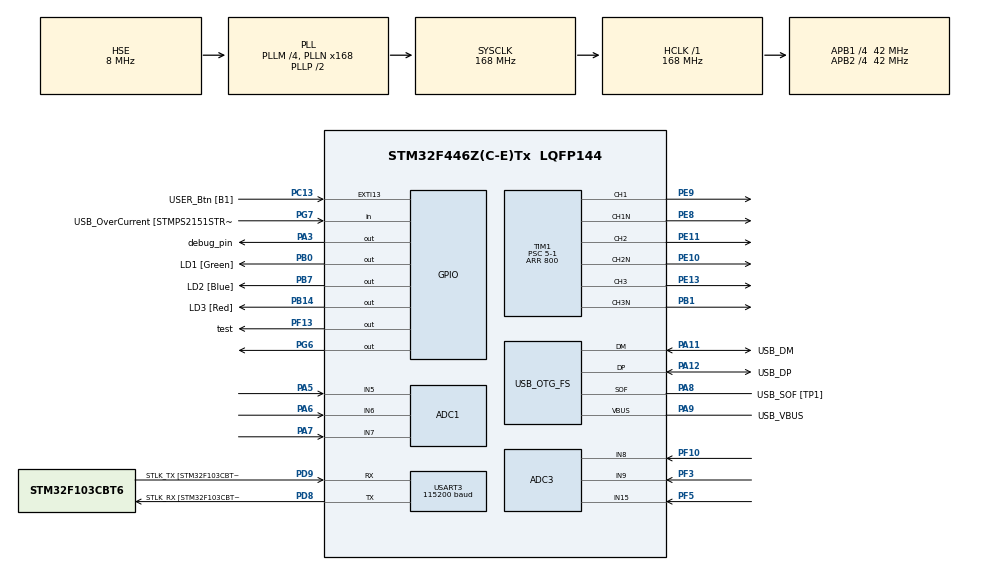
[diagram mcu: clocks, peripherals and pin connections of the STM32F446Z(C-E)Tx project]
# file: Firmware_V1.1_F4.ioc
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ADC1.Channel-0\#ChannelRegularConversion=ADC_CHANNEL_5
ADC1.Channel-1\#ChannelRegularConversion=ADC_CHANNEL_6
ADC1.Channel-2\#ChannelRegularConversion=ADC_CHANNEL_7
ADC1.ClockPrescaler=ADC_CLOCK_SYNC_PCLK_DIV4
ADC1.DMAContinuousRequests=DISABLE
ADC1.EOCSelection=ADC_EOC_SEQ_CONV
ADC1.InjNumberOfConversion=0
ADC1.NbrOfConversion=3
ADC1.NbrOfConversionFlag=1
ADC1.Rank-0\#ChannelRegularConversion=1
ADC1.Rank-1\#ChannelRegularConversion=2
ADC1.Rank-2\#ChannelRegularConversion=3
ADC1.SamplingTime-0\#ChannelRegularConversion=ADC_SAMPLETIME_144CYCLES
ADC1.SamplingTime-1\#ChannelRegularConversion=ADC_SAMPLETIME_144CYCLES
ADC1.SamplingTime-2\#ChannelRegularConversion=ADC_SAMPLETIME_144CYCLES
ADC1.ScanConvMode=ENABLE
ADC1.master=1
ADC3.Channel-0\#ChannelRegularConversion=ADC_CHANNEL_8
ADC3.Channel-1\#ChannelRegularConversion=ADC_CHANNEL_15
ADC3.ClockPrescaler=ADC_CLOCK_SYNC_PCLK_DIV4
ADC3.EOCSelection=ADC_EOC_SEQ_CONV
ADC3.ExternalTrigConv=ADC_EXTERNALTRIGCONV_T1_CC1
ADC3.NbrOfConversion=2
ADC3.NbrOfConversionFlag=1
ADC3.Rank-0\#ChannelRegularConversion=1
ADC3.Rank-1\#ChannelRegularConversion=2
ADC3.SamplingTime-0\#ChannelRegularConversion=ADC_SAMPLETIME_480CYCLES
ADC3.SamplingTime-1\#ChannelRegularConversion=ADC_SAMPLETIME_480CYCLES
ADC3.ScanConvMode=ENABLE
Dma.ADC1.0.Direction=DMA_PERIPH_TO_MEMORY
Dma.ADC1.0.FIFOMode=DMA_FIFOMODE_DISABLE
Dma.ADC1.0.Instance=DMA2_Stream4
Dma.ADC1.0.MemDataAlignment=DMA_MDATAALIGN_WORD
Dma.ADC1.0.MemInc=DMA_MINC_ENABLE
Dma.ADC1.0.Mode=DMA_NORMAL
Dma.ADC1.0.PeriphDataAlignment=DMA_PDATAALIGN_WORD
Dma.ADC1.0.PeriphInc=DMA_PINC_DISABLE
Dma.ADC1.0.Priority=DMA_PRIORITY_LOW
Dma.ADC3.2.Direction=DMA_PERIPH_TO_MEMORY
Dma.ADC3.2.FIFOMode=DMA_FIFOMODE_DISABLE
Dma.ADC3.2.Instance=DMA2_Stream0
Dma.ADC3.2.MemDataAlignment=DMA_MDATAALIGN_WORD
Dma.ADC3.2.MemInc=DMA_MINC_ENABLE
Dma.ADC3.2.Mode=DMA_NORMAL
Dma.ADC3.2.PeriphDataAlignment=DMA_PDATAALIGN_WORD
Dma.ADC3.2.PeriphInc=DMA_PINC_DISABLE
Dma.ADC3.2.Priority=DMA_PRIORITY_LOW
Dma.Request0=ADC1
Dma.Request1=USART3_RX
Dma.Request2=ADC3
Dma.USART3_RX.1.Direction=DMA_PERIPH_TO_MEMORY
Dma.USART3_RX.1.FIFOMode=DMA_FIFOMODE_DISABLE
Dma.USART3_RX.1.Instance=DMA1_Stream1
Dma.USART3_RX.1.MemDataAlignment=DMA_MDATAALIGN_BYTE
Dma.USART3_RX.1.MemInc=DMA_MINC_ENABLE
Dma.USART3_RX.1.Mode=DMA_CIRCULAR
Dma.USART3_RX.1.PeriphDataAlignment=DMA_PDATAALIGN_BYTE
Dma.USART3_RX.1.PeriphInc=DMA_PINC_DISABLE
Dma.USART3_RX.1.Priority=DMA_PRIORITY_LOW
Mcu.Family=STM32F4
Mcu.Name=STM32F446Z(C-E)Tx
Mcu.Package=LQFP144
NVIC.ADC_IRQn=true\:0\:0\:false\:false\:true\:true\:true\:true
NVIC.DMA1_Stream1_IRQn=true\:0\:0\:false\:false\:true\:false\:true\:true
NVIC.DMA2_Stream0_IRQn=true\:0\:0\:false\:false\:true\:false\:true\:true
NVIC.DMA2_Stream4_IRQn=true\:0\:0\:false\:false\:true\:false\:true\:true
NVIC.PriorityGroup=NVIC_PRIORITYGROUP_4
NVIC.TIM1_BRK_TIM9_IRQn=true\:0\:0\:false\:false\:true\:true\:true\:true
NVIC.TIM1_CC_IRQn=true\:0\:0\:false\:false\:true\:true\:true\:true
NVIC.TIM1_TRG_COM_TIM11_IRQn=true\:0\:0\:false\:false\:true\:true\:true\:true
NVIC.TIM1_UP_TIM10_IRQn=true\:0\:0\:false\:false\:true\:true\:true\:true
NVIC.TIM2_IRQn=true\:10\:0\:true\:false\:true\:true\:true\:true
NVIC.USART3_IRQn=true\:0\:0\:true\:false\:true\:true\:true\:true
PA10.GPIO_Label=USB_ID
PA10.Signal=USB_OTG_FS_ID
PA11.GPIO_Label=USB_DM
PA11.Mode=Device_Only
PA11.Signal=USB_OTG_FS_DM
PA12.GPIO_Label=USB_DP
PA12.Mode=Device_Only
PA12.Signal=USB_OTG_FS_DP
PA13.GPIO_Label=TMS
PA13.Mode=Serial_Wire
PA13.Signal=SYS_JTMS-SWDIO
PA14.GPIO_Label=TCK
PA14.Mode=Serial_Wire
PA14.Signal=SYS_JTCK-SWCLK
PA3.GPIO_Label=debug_pin
PA3.Signal=GPIO_Output
PA5.Signal=ADCx_IN5
PA6.Signal=ADCx_IN6
PA7.Signal=ADCx_IN7
PA8.GPIO_Label=USB_SOF [TP1]
PA8.Mode=Activate_SOF_FS
PA8.Signal=USB_OTG_FS_SOF
PA9.GPIO_Label=USB_VBUS
PA9.Mode=Activate_VBUS
PA9.Signal=USB_OTG_FS_VBUS
PB0.GPIO_Label=LD1 [Green]
PB0.Signal=GPIO_Output
PB1.Mode=PWM Generation3 CH3 CH3N
PB1.Signal=TIM1_CH3N
PB14.GPIO_Label=LD3 [Red]
PB14.Signal=GPIO_Output
PB7.GPIO_Label=LD2 [Blue]
PB7.Signal=GPIO_Output
PC13.GPIO_Label=USER_Btn [B1]
PC13.Signal=GPXTI13
PC14-OSC32_IN.Mode=LSE-External-Oscillator
PC14-OSC32_IN.Signal=RCC_OSC32_IN
PC15-OSC32_OUT.Mode=LSE-External-Oscillator
PC15-OSC32_OUT.Signal=RCC_OSC32_OUT
PD8.GPIO_Label=STLK_RX [STM32F103CBT6_PA3]
PD8.Mode=Asynchronous
PD8.Signal=USART3_TX
PD9.GPIO_Label=STLK_TX [STM32F103CBT6_PA2]
PD9.Mode=Asynchronous
PD9.Signal=USART3_RX
PE10.Mode=PWM Generation2 CH2 CH2N
PE10.Signal=TIM1_CH2N
PE11.Signal=S_TIM1_CH2
PE13.Signal=S_TIM1_CH3
PE8.Mode=PWM Generation1 CH1 CH1N
PE8.Signal=TIM1_CH1N
PE9.Signal=S_TIM1_CH1
PF10.Mode=IN8
PF10.Signal=ADC3_IN8
PF13.GPIO_Label=test
PF13.Signal=GPIO_Output
PF3.Mode=IN9
PF3.Signal=ADC3_IN9
PF5.Mode=IN15
PF5.Signal=ADC3_IN15
PG6.Signal=GPIO_Output
PG7.GPIO_Label=USB_OverCurrent [STMPS2151STR_FAULT]
PG7.Signal=GPIO_Input
PH0-OSC_IN.GPIO_Label=MCO [STM32F103CBT6_PA8]
PH0-OSC_IN.Mode=HSE-External-Clock-Source
PH0-OSC_IN.Signal=RCC_OSC_IN
PH1-OSC_OUT.Mode=HSE-External-Clock-Source
PH1-OSC_OUT.Signal=RCC_OSC_OUT
ProjectManager.HeapSize=0x200
ProjectManager.StackSize=0x400
ProjectManager.TargetToolchain=STM32CubeIDE
RCC.48MHZClocksFreq_Value=24000000
RCC.AHBFreq_Value=168000000
RCC.APB1CLKDivider=RCC_HCLK_DIV4
RCC.APB1Freq_Value=42000000
RCC.APB1TimFreq_Value=84000000
RCC.APB2CLKDivider=RCC_HCLK_DIV4
RCC.APB2Freq_Value=42000000
RCC.APB2TimFreq_Value=84000000
RCC.CortexFreq_Value=168000000
RCC.HCLKFreq_Value=168000000
RCC.HSE_VALUE=8000000
RCC.HSI_VALUE=16000000
RCC.PLLM=4
RCC.PLLMUL=RCC_PLL_MUL9
RCC.PLLN=168
RCC.PLLQ=7
RCC.PRESCALERUSB=RCC_USBCLKSOURCE_PLL_DIV1_5
RCC.SYSCLKFreq_VALUE=168000000
RCC.SYSCLKSource=RCC_SYSCLKSOURCE_PLLCLK
RCC.SYSCLKSourceVirtual=RCC_SYSCLKSOURCE_PLLCLK
RCC.USBFreq_Value=48000000
RCC.VCOOutputFreq_Value=336000000
SH.ADCx_IN5.0=ADC1_IN5,IN5
SH.ADCx_IN6.0=ADC1_IN6,IN6
SH.ADCx_IN7.0=ADC1_IN7,IN7
SH.S_TIM1_CH1.0=TIM1_CH1,PWM Generation1 CH1 CH1N
SH.S_TIM1_CH2.0=TIM1_CH2,PWM Generation2 CH2 CH2N
SH.S_TIM1_CH3.0=TIM1_CH3,PWM Generation3 CH3 CH3N
TIM1.Channel-PWM\ Generation1\ CH1\ CH1N=TIM_CHANNEL_1
TIM1.Channel-PWM\ Generation2\ CH2\ CH2N=TIM_CHANNEL_2
TIM1.Channel-PWM\ Generation3\ CH3\ CH3N=TIM_CHANNEL_3
TIM1.CounterMode=TIM_COUNTERMODE_CENTERALIGNED1
TIM1.DeadTime=255-1
TIM1.Period=800
TIM1.Prescaler=5-1
TIM1.Pulse-PWM\ Generation1\ CH1\ CH1N=0
TIM1.RepetitionCounter=1
TIM2.Period=5000
TIM2.Prescaler=1680
USART3.BaudRate=115200
USART3.VirtualMode=VM_ASYNC
USB_OTG_FS.VirtualMode=Device_Only
VP_TIM2_VS_ClockSourceINT.Mode=Internal
board=NUCLEO-F446ZE

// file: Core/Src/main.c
/* USER CODE BEGIN Header */
/**
  ******************************************************************************
  * @file           : main.c
  * @brief          : Main program body
  ******************************************************************************
  * @attention
  *
  * Copyright (c) 2023 STMicroelectronics.
  * All rights reserved.
  *
  * This software is licensed under terms that can be found in the LICENSE file
  * in the root directory of this software component.
  * If no LICENSE file comes with this software, it is provided AS-IS.
  *
  ******************************************************************************
  */
/* USER CODE END Header */
#include "main.h"

/* USER CODE BEGIN Includes */
#include "Regelungstechnik_lib/Regelungstechnik.h"
#include "Clark_Transformation/Clark_Transformation.h"
#include "THIPWM/THIPWM.h"
#include "math.h"

/* USER CODE END Includes */

/* USER CODE BEGIN PD */
uint8_t uart3_buffer[16];
volatile uint32_t adc_in1[3];
volatile uint32_t adc_in3[3];
uint32_t test = 4000;
int16_t adc_offset_korrekt[3];
uint8_t enable;
uint32_t adc1_offset[3];
uint32_t pwm_phasen[3];
float strom_ist[3];
float Is_d,Is_q;
float theta;
clark Clark;
park Park1 = park_default;
THIPWMdata THIPWM;

PI PI_Regler_alpha;
PI PI_Regler_beta;

float gasgriff();

/* USER CODE END PD */

ADC_HandleTypeDef hadc1;
ADC_HandleTypeDef hadc3;
DMA_HandleTypeDef hdma_adc1;
DMA_HandleTypeDef hdma_adc3;

TIM_HandleTypeDef htim1;
TIM_HandleTypeDef htim2;

UART_HandleTypeDef huart3;
DMA_HandleTypeDef hdma_usart3_rx;

PCD_HandleTypeDef hpcd_USB_OTG_FS;

/* USER CODE BEGIN PV */

void recalcduty();

/* USER CODE END PV */

void SystemClock_Config(void);
static void MX_GPIO_Init(void);
static void MX_DMA_Init(void);
static void MX_USART3_UART_Init(void);
static void MX_USB_OTG_FS_PCD_Init(void);
static void MX_ADC1_Init(void);
static void MX_TIM1_Init(void);
static void MX_TIM2_Init(void);
static void MX_ADC3_Init(void);

int main(void)
{
  /* USER CODE BEGIN 1 */
	Is_d=0;

  /* USER CODE END 1 */

  /* MCU Configuration--------------------------------------------------------*/

  /* Reset of all peripherals, Initializes the Flash interface and the Systick. */
  HAL_Init();

  /* Configure the system clock */
  SystemClock_Config();

  /* Initialize all configured peripherals */
  MX_GPIO_Init();
  MX_DMA_Init();
  MX_USART3_UART_Init();
  MX_USB_OTG_FS_PCD_Init();
  MX_ADC1_Init();
  MX_TIM1_Init();
  MX_TIM2_Init();
  MX_ADC3_Init();
  /* USER CODE BEGIN 2 */
  HAL_TIM_Base_Start_IT(&htim1);
  HAL_TIM_PWM_Start(&htim1, TIM_CHANNEL_1);
  HAL_TIMEx_PWMN_Start(&htim1, TIM_CHANNEL_1);
  HAL_TIM_PWM_Start(&htim1, TIM_CHANNEL_2);
  HAL_TIMEx_PWMN_Start(&htim1, TIM_CHANNEL_2);
  HAL_TIM_PWM_Start(&htim1, TIM_CHANNEL_3);
  HAL_TIMEx_PWMN_Start(&htim1, TIM_CHANNEL_3);

  HAL_TIM_Base_Start_IT(&htim2);
  HAL_UART_Receive_DMA(&huart3, &enable, 1);
  HAL_ADC_Start_DMA(&hadc3, (uint32_t*) adc_in3, 3);

  init_clark(&Clark);
#define Kr 0.05f
#define TN 0.0001f
#define TV 0.000048f

setupTHIMPWM(800, &THIPWM);
  config_PID(&PI_Regler_alpha,&THIPWM.maximum_Us_b,Kr,0.0001,TN,TV);
  config_PID(&PI_Regler_beta,&THIPWM.maximum_Us_b, Kr,0.0001,TN,TV);

  /* USER CODE END 2 */

  /* Infinite loop */
  /* USER CODE BEGIN WHILE */
  while (1)
  {
	  HAL_GPIO_WritePin(debug_pin_GPIO_Port, debug_pin_Pin, (enable>>1));

    /* USER CODE END WHILE */

  }
}

void SystemClock_Config(void)
{
  RCC_OscInitTypeDef RCC_OscInitStruct = {0};
  RCC_ClkInitTypeDef RCC_ClkInitStruct = {0};

  /** Configure the main internal regulator output voltage
  */
  __HAL_RCC_PWR_CLK_ENABLE();
  __HAL_PWR_VOLTAGESCALING_CONFIG(PWR_REGULATOR_VOLTAGE_SCALE1);

  /** Initializes the RCC Oscillators according to the specified parameters
  * in the RCC_OscInitTypeDef structure.
  */
  RCC_OscInitStruct.OscillatorType = RCC_OSCILLATORTYPE_HSE;
  RCC_OscInitStruct.HSEState = RCC_HSE_BYPASS;
  RCC_OscInitStruct.PLL.PLLState = RCC_PLL_ON;
  RCC_OscInitStruct.PLL.PLLSource = RCC_PLLSOURCE_HSE;
  RCC_OscInitStruct.PLL.PLLM = 4;
  RCC_OscInitStruct.PLL.PLLN = 168;
  RCC_OscInitStruct.PLL.PLLP = RCC_PLLP_DIV2;
  RCC_OscInitStruct.PLL.PLLQ = 7;
  RCC_OscInitStruct.PLL.PLLR = 2;
  if (HAL_RCC_OscConfig(&RCC_OscInitStruct) != HAL_OK)
  {
    Error_Handler();
  }

  /** Initializes the CPU, AHB and APB buses clocks
  */
  RCC_ClkInitStruct.ClockType = RCC_CLOCKTYPE_HCLK|RCC_CLOCKTYPE_SYSCLK
                              |RCC_CLOCKTYPE_PCLK1|RCC_CLOCKTYPE_PCLK2;
  RCC_ClkInitStruct.SYSCLKSource = RCC_SYSCLKSOURCE_PLLCLK;
  RCC_ClkInitStruct.AHBCLKDivider = RCC_SYSCLK_DIV1;
  RCC_ClkInitStruct.APB1CLKDivider = RCC_HCLK_DIV4;
  RCC_ClkInitStruct.APB2CLKDivider = RCC_HCLK_DIV4;

  if (HAL_RCC_ClockConfig(&RCC_ClkInitStruct, FLASH_LATENCY_5) != HAL_OK)
  {
    Error_Handler();
  }
}

static void MX_ADC1_Init(void)
{

  ADC_ChannelConfTypeDef sConfig = {0};

  /** Configure the global features of the ADC (Clock, Resolution, Data Alignment and number of conversion)
  */
  hadc1.Instance = ADC1;
  hadc1.Init.ClockPrescaler = ADC_CLOCK_SYNC_PCLK_DIV4;
  hadc1.Init.Resolution = ADC_RESOLUTION_12B;
  hadc1.Init.ScanConvMode = ENABLE;
  hadc1.Init.ContinuousConvMode = DISABLE;
  hadc1.Init.DiscontinuousConvMode = DISABLE;
  hadc1.Init.ExternalTrigConvEdge = ADC_EXTERNALTRIGCONVEDGE_NONE;
  hadc1.Init.ExternalTrigConv = ADC_SOFTWARE_START;
  hadc1.Init.DataAlign = ADC_DATAALIGN_RIGHT;
  hadc1.Init.NbrOfConversion = 3;
  hadc1.Init.DMAContinuousRequests = DISABLE;
  hadc1.Init.EOCSelection = ADC_EOC_SEQ_CONV;
  if (HAL_ADC_Init(&hadc1) != HAL_OK)
  {
    Error_Handler();
  }

  /** Configure for the selected ADC regular channel its corresponding rank in the sequencer and its sample time.
  */
  sConfig.Channel = ADC_CHANNEL_5;
  sConfig.Rank = 1;
  sConfig.SamplingTime = ADC_SAMPLETIME_144CYCLES;
  if (HAL_ADC_ConfigChannel(&hadc1, &sConfig) != HAL_OK)
  {
    Error_Handler();
  }

  /** Configure for the selected ADC regular channel its corresponding rank in the sequencer and its sample time.
  */
  sConfig.Channel = ADC_CHANNEL_6;
  sConfig.Rank = 2;
  if (HAL_ADC_ConfigChannel(&hadc1, &sConfig) != HAL_OK)
  {
    Error_Handler();
  }

  /** Configure for the selected ADC regular channel its corresponding rank in the sequencer and its sample time.
  */
  sConfig.Channel = ADC_CHANNEL_7;
  sConfig.Rank = 3;
  if (HAL_ADC_ConfigChannel(&hadc1, &sConfig) != HAL_OK)
  {
    Error_Handler();
  }

}

static void MX_ADC3_Init(void)
{

  ADC_ChannelConfTypeDef sConfig = {0};

  /** Configure the global features of the ADC (Clock, Resolution, Data Alignment and number of conversion)
  */
  hadc3.Instance = ADC3;
  hadc3.Init.ClockPrescaler = ADC_CLOCK_SYNC_PCLK_DIV4;
  hadc3.Init.Resolution = ADC_RESOLUTION_12B;
  hadc3.Init.ScanConvMode = ENABLE;
  hadc3.Init.ContinuousConvMode = DISABLE;
  hadc3.Init.DiscontinuousConvMode = DISABLE;
  hadc3.Init.ExternalTrigConvEdge = ADC_EXTERNALTRIGCONVEDGE_RISING;
  hadc3.Init.ExternalTrigConv = ADC_EXTERNALTRIGCONV_T1_CC1;
  hadc3.Init.DataAlign = ADC_DATAALIGN_RIGHT;
  hadc3.Init.NbrOfConversion = 2;
  hadc3.Init.DMAContinuousRequests = DISABLE;
  hadc3.Init.EOCSelection = ADC_EOC_SEQ_CONV;
  if (HAL_ADC_Init(&hadc3) != HAL_OK)
  {
    Error_Handler();
  }

  /** Configure for the selected ADC regular channel its corresponding rank in the sequencer and its sample time.
  */
  sConfig.Channel = ADC_CHANNEL_8;
  sConfig.Rank = 1;
  sConfig.SamplingTime = ADC_SAMPLETIME_480CYCLES;
  if (HAL_ADC_ConfigChannel(&hadc3, &sConfig) != HAL_OK)
  {
    Error_Handler();
  }

  /** Configure for the selected ADC regular channel its corresponding rank in the sequencer and its sample time.
  */
  sConfig.Channel = ADC_CHANNEL_15;
  sConfig.Rank = 2;
  if (HAL_ADC_ConfigChannel(&hadc3, &sConfig) != HAL_OK)
  {
    Error_Handler();
  }

}

static void MX_TIM1_Init(void)
{

  TIM_MasterConfigTypeDef sMasterConfig = {0};
  TIM_OC_InitTypeDef sConfigOC = {0};
  TIM_BreakDeadTimeConfigTypeDef sBreakDeadTimeConfig = {0};

  htim1.Instance = TIM1;
  htim1.Init.Prescaler = 5-1;
  htim1.Init.CounterMode = TIM_COUNTERMODE_CENTERALIGNED1;
  htim1.Init.Period = 800;
  htim1.Init.ClockDivision = TIM_CLOCKDIVISION_DIV1;
  htim1.Init.RepetitionCounter = 1;
  htim1.Init.AutoReloadPreload = TIM_AUTORELOAD_PRELOAD_DISABLE;
  if (HAL_TIM_PWM_Init(&htim1) != HAL_OK)
  {
    Error_Handler();
  }
  sMasterConfig.MasterOutputTrigger = TIM_TRGO_RESET;
  sMasterConfig.MasterSlaveMode = TIM_MASTERSLAVEMODE_DISABLE;
  if (HAL_TIMEx_MasterConfigSynchronization(&htim1, &sMasterConfig) != HAL_OK)
  {
    Error_Handler();
  }
  sConfigOC.OCMode = TIM_OCMODE_PWM1;
  sConfigOC.Pulse = 0;
  sConfigOC.OCPolarity = TIM_OCPOLARITY_HIGH;
  sConfigOC.OCNPolarity = TIM_OCNPOLARITY_HIGH;
  sConfigOC.OCFastMode = TIM_OCFAST_DISABLE;
  sConfigOC.OCIdleState = TIM_OCIDLESTATE_RESET;
  sConfigOC.OCNIdleState = TIM_OCNIDLESTATE_RESET;
  if (HAL_TIM_PWM_ConfigChannel(&htim1, &sConfigOC, TIM_CHANNEL_1) != HAL_OK)
  {
    Error_Handler();
  }
  if (HAL_TIM_PWM_ConfigChannel(&htim1, &sConfigOC, TIM_CHANNEL_2) != HAL_OK)
  {
    Error_Handler();
  }
  if (HAL_TIM_PWM_ConfigChannel(&htim1, &sConfigOC, TIM_CHANNEL_3) != HAL_OK)
  {
    Error_Handler();
  }
  sBreakDeadTimeConfig.OffStateRunMode = TIM_OSSR_DISABLE;
  sBreakDeadTimeConfig.OffStateIDLEMode = TIM_OSSI_DISABLE;
  sBreakDeadTimeConfig.LockLevel = TIM_LOCKLEVEL_OFF;
  sBreakDeadTimeConfig.DeadTime = 255-1;
  sBreakDeadTimeConfig.BreakState = TIM_BREAK_DISABLE;
  sBreakDeadTimeConfig.BreakPolarity = TIM_BREAKPOLARITY_HIGH;
  sBreakDeadTimeConfig.AutomaticOutput = TIM_AUTOMATICOUTPUT_DISABLE;
  if (HAL_TIMEx_ConfigBreakDeadTime(&htim1, &sBreakDeadTimeConfig) != HAL_OK)
  {
    Error_Handler();
  }
  HAL_TIM_MspPostInit(&htim1);

}

static void MX_TIM2_Init(void)
{

  TIM_ClockConfigTypeDef sClockSourceConfig = {0};
  TIM_MasterConfigTypeDef sMasterConfig = {0};

  htim2.Instance = TIM2;
  htim2.Init.Prescaler = 1680;
  htim2.Init.CounterMode = TIM_COUNTERMODE_UP;
  htim2.Init.Period = 5000;
  htim2.Init.ClockDivision = TIM_CLOCKDIVISION_DIV1;
  htim2.Init.AutoReloadPreload = TIM_AUTORELOAD_PRELOAD_DISABLE;
  if (HAL_TIM_Base_Init(&htim2) != HAL_OK)
  {
    Error_Handler();
  }
  sClockSourceConfig.ClockSource = TIM_CLOCKSOURCE_INTERNAL;
  if (HAL_TIM_ConfigClockSource(&htim2, &sClockSourceConfig) != HAL_OK)
  {
    Error_Handler();
  }
  sMasterConfig.MasterOutputTrigger = TIM_TRGO_RESET;
  sMasterConfig.MasterSlaveMode = TIM_MASTERSLAVEMODE_DISABLE;
  if (HAL_TIMEx_MasterConfigSynchronization(&htim2, &sMasterConfig) != HAL_OK)
  {
    Error_Handler();
  }

}

static void MX_USART3_UART_Init(void)
{

  huart3.Instance = USART3;
  huart3.Init.BaudRate = 115200;
  huart3.Init.WordLength = UART_WORDLENGTH_8B;
  huart3.Init.StopBits = UART_STOPBITS_1;
  huart3.Init.Parity = UART_PARITY_NONE;
  huart3.Init.Mode = UART_MODE_TX_RX;
  huart3.Init.HwFlowCtl = UART_HWCONTROL_NONE;
  huart3.Init.OverSampling = UART_OVERSAMPLING_16;
  if (HAL_UART_Init(&huart3) != HAL_OK)
  {
    Error_Handler();
  }

}

static void MX_USB_OTG_FS_PCD_Init(void)
{

  hpcd_USB_OTG_FS.Instance = USB_OTG_FS;
  hpcd_USB_OTG_FS.Init.dev_endpoints = 6;
  hpcd_USB_OTG_FS.Init.speed = PCD_SPEED_FULL;
  hpcd_USB_OTG_FS.Init.dma_enable = DISABLE;
  hpcd_USB_OTG_FS.Init.phy_itface = PCD_PHY_EMBEDDED;
  hpcd_USB_OTG_FS.Init.Sof_enable = ENABLE;
  hpcd_USB_OTG_FS.Init.low_power_enable = DISABLE;
  hpcd_USB_OTG_FS.Init.lpm_enable = DISABLE;
  hpcd_USB_OTG_FS.Init.vbus_sensing_enable = ENABLE;
  hpcd_USB_OTG_FS.Init.use_dedicated_ep1 = DISABLE;
  if (HAL_PCD_Init(&hpcd_USB_OTG_FS) != HAL_OK)
  {
    Error_Handler();
  }

}

static void MX_DMA_Init(void)
{

  /* DMA controller clock enable */
  __HAL_RCC_DMA2_CLK_ENABLE();
  __HAL_RCC_DMA1_CLK_ENABLE();

  /* DMA interrupt init */
  /* DMA1_Stream1_IRQn interrupt configuration */
  HAL_NVIC_SetPriority(DMA1_Stream1_IRQn, 0, 0);
  HAL_NVIC_EnableIRQ(DMA1_Stream1_IRQn);
  /* DMA2_Stream0_IRQn interrupt configuration */
  HAL_NVIC_SetPriority(DMA2_Stream0_IRQn, 0, 0);
  HAL_NVIC_EnableIRQ(DMA2_Stream0_IRQn);
  /* DMA2_Stream4_IRQn interrupt configuration */
  HAL_NVIC_SetPriority(DMA2_Stream4_IRQn, 0, 0);
  HAL_NVIC_EnableIRQ(DMA2_Stream4_IRQn);

}

static void MX_GPIO_Init(void)
{
  GPIO_InitTypeDef GPIO_InitStruct = {0};

  /* GPIO Ports Clock Enable */
  __HAL_RCC_GPIOC_CLK_ENABLE();
  __HAL_RCC_GPIOF_CLK_ENABLE();
  __HAL_RCC_GPIOH_CLK_ENABLE();
  __HAL_RCC_GPIOA_CLK_ENABLE();
  __HAL_RCC_GPIOB_CLK_ENABLE();
  __HAL_RCC_GPIOE_CLK_ENABLE();
  __HAL_RCC_GPIOD_CLK_ENABLE();
  __HAL_RCC_GPIOG_CLK_ENABLE();

  /*Configure GPIO pin Output Level */
  HAL_GPIO_WritePin(debug_pin_GPIO_Port, debug_pin_Pin, GPIO_PIN_RESET);

  /*Configure GPIO pin Output Level */
  HAL_GPIO_WritePin(GPIOB, LD1_Pin|LD3_Pin|LD2_Pin, GPIO_PIN_RESET);

  /*Configure GPIO pin Output Level */
  HAL_GPIO_WritePin(test_GPIO_Port, test_Pin, GPIO_PIN_RESET);

  /*Configure GPIO pin Output Level */
  HAL_GPIO_WritePin(GPIOG, GPIO_PIN_6, GPIO_PIN_RESET);

  /*Configure GPIO pin : USER_Btn_Pin */
  GPIO_InitStruct.Pin = USER_Btn_Pin;
  GPIO_InitStruct.Mode = GPIO_MODE_IT_RISING;
  GPIO_InitStruct.Pull = GPIO_NOPULL;
  HAL_GPIO_Init(USER_Btn_GPIO_Port, &GPIO_InitStruct);

  /*Configure GPIO pin : debug_pin_Pin */
  GPIO_InitStruct.Pin = debug_pin_Pin;
  GPIO_InitStruct.Mode = GPIO_MODE_OUTPUT_PP;
  GPIO_InitStruct.Pull = GPIO_NOPULL;
  GPIO_InitStruct.Speed = GPIO_SPEED_FREQ_LOW;
  HAL_GPIO_Init(debug_pin_GPIO_Port, &GPIO_InitStruct);

  /*Configure GPIO pins : LD1_Pin LD3_Pin LD2_Pin */
  GPIO_InitStruct.Pin = LD1_Pin|LD3_Pin|LD2_Pin;
  GPIO_InitStruct.Mode = GPIO_MODE_OUTPUT_PP;
  GPIO_InitStruct.Pull = GPIO_NOPULL;
  GPIO_InitStruct.Speed = GPIO_SPEED_FREQ_LOW;
  HAL_GPIO_Init(GPIOB, &GPIO_InitStruct);

  /*Configure GPIO pin : test_Pin */
  GPIO_InitStruct.Pin = test_Pin;
  GPIO_InitStruct.Mode = GPIO_MODE_OUTPUT_PP;
  GPIO_InitStruct.Pull = GPIO_NOPULL;
  GPIO_InitStruct.Speed = GPIO_SPEED_FREQ_LOW;
  HAL_GPIO_Init(test_GPIO_Port, &GPIO_InitStruct);

  /*Configure GPIO pin : PG6 */
  GPIO_InitStruct.Pin = GPIO_PIN_6;
  GPIO_InitStruct.Mode = GPIO_MODE_OUTPUT_PP;
  GPIO_InitStruct.Pull = GPIO_NOPULL;
  GPIO_InitStruct.Speed = GPIO_SPEED_FREQ_LOW;
  HAL_GPIO_Init(GPIOG, &GPIO_InitStruct);

  /*Configure GPIO pin : USB_OverCurrent_Pin */
  GPIO_InitStruct.Pin = USB_OverCurrent_Pin;
  GPIO_InitStruct.Mode = GPIO_MODE_INPUT;
  GPIO_InitStruct.Pull = GPIO_NOPULL;
  HAL_GPIO_Init(USB_OverCurrent_GPIO_Port, &GPIO_InitStruct);

}

/* USER CODE BEGIN 4 */

void HAL_TIM_PeriodElapsedCallback(TIM_HandleTypeDef* htim){
	if(htim == &htim1){
		if((enable>>1)){
			TIM1->CCR1=THIPWM.TIMCOMPA;
			TIM1->CCR2=THIPWM.TIMCOMPB;
			TIM1->CCR3=THIPWM.TIMCOMPC;
		}else if(!(enable>>1)){
			TIM1->CCR1=0;
			TIM1->CCR2=0;
			TIM1->CCR3=0;

			PI_Regler_alpha.ek_1 = 0;
			PI_Regler_alpha.ek_2 = 0;
			PI_Regler_alpha.uk_1 = 0;
			PI_Regler_beta.ek_1 = 0;
			PI_Regler_beta.ek_2 = 0;
			PI_Regler_beta.uk_1 = 0;
		}
		HAL_GPIO_WritePin(test_GPIO_Port, test_Pin, 1);
		//HAL_GPIO_TogglePin(test_GPIO_Port, test_Pin);
		HAL_ADC_Start_DMA(&hadc1, (uint32_t*) adc_in1, 3);
		 int32_t sin = adc_in3[1]-2879;
		 int32_t cos = adc_in3[0]-2879;
		 theta= atan2f((float)(cos),(float)(sin));
		 theta+=42.5f/180.0f*M_PI;
		 theta*=4.0f;

		 Is_q=100.0f*gasgriff();
	}

	if(htim == &htim2){
		// den gemessenen strom in den UART buffer schreiben
		uart3_buffer[0]=adc_offset_korrekt[0] & 0xFF;
		uart3_buffer[1]=(adc_offset_korrekt[0]>>8) & 0xFF;
		uart3_buffer[2]=adc_offset_korrekt[1] & 0xFF;
		uart3_buffer[3]=(adc_offset_korrekt[1]>>8) & 0xFF;
		uart3_buffer[4]=adc_offset_korrekt[2] & 0xFF;
		uart3_buffer[5]=(adc_offset_korrekt[2]>>8) & 0xFF;
		// den endcoder winkel in den UART buffer schreiben
		float theta_u = 4000.0f + (500.0f*theta);
		uart3_buffer[6]= (int)(theta_u)& 0xFF;
		uart3_buffer[7]=((int)(theta_u)>>8) &0xFF;
		// den gasgriff wert in den UART buffer schreiben.
		uart3_buffer[10]=adc_in3[2] & 0xFF;
		uart3_buffer[11]=(adc_in3[2]>>8) &0xFF;

		// Id und Iq werden in den UART buffer geschrieben
		float I_q = 4000.0f+(266.0f*Park1.alpha);
		float I_d = 4000.0f+(266.0f*Park1.beta);
		uart3_buffer[12]=(int)(I_q) & 0xFF;
		uart3_buffer[13]=((int)(I_q)>>8) &0xFF;
		uart3_buffer[14]=(int)(I_d) & 0xFF;
		uart3_buffer[15]=((int)(I_d)>>8) &0xFF;
		// Ia und Ib werden in den buffer geschrieben

		HAL_UART_Transmit_IT(&huart3, uart3_buffer, 16);
	}

}

void HAL_ADC_ConvCpltCallback(ADC_HandleTypeDef* hadc)
{
		if(hadc == &hadc1){

			adc_offset_korrekt[0]=adc_in1[0]-adc1_offset[0];//-adc1_offset;
			adc_offset_korrekt[1]=adc_in1[1]-adc1_offset[1];//-adc2_offset;
			adc_offset_korrekt[2]=adc_in1[2]-adc1_offset[2];//-adc3_offset;

			if((enable>>1)){
				strom_ist[0]=(float)(adc_offset_korrekt[0])/10.0f;
				strom_ist[1]=(float)(adc_offset_korrekt[1])/10.0f;
				strom_ist[2]=(float)(adc_offset_korrekt[2])/10.0f;
				recalcduty(adc_offset_korrekt[0]);
			}else {
				adc1_offset[0]=adc_in1[0];
				adc1_offset[1]=adc_in1[1];
				adc1_offset[2]=adc_in1[2];
			}
		}
		if(hadc == &hadc3){
			HAL_ADC_Start_DMA(&hadc3, (uint32_t*) adc_in3, 3);

		}

}

void HAL_UART_TxCpltCallback(UART_HandleTypeDef *UartHandle){
	HAL_UART_Receive_DMA(&huart3, &enable, 1);
}

void recalcduty(){
	recalc_clark(&Clark, strom_ist[0], strom_ist[1], strom_ist[2]);
	 recalc_park(&Park1, Is_d, Is_q, theta);
	float error_alpha = Park1.alpha - Clark.alpha;
	float error_beta = -Park1.beta - Clark.beta;
	add_val_PID(&PI_Regler_alpha,error_alpha);
	add_val_PID(&PI_Regler_beta, error_beta);
	vectorrecalc(PI_Regler_alpha.uk, PI_Regler_beta.uk, 24.0f, &THIPWM);
	HAL_GPIO_WritePin(test_GPIO_Port, test_Pin, 0);
}

float gasgriff(){

	int gas_null = adc_in3[2] - 1050;
	float val;

	if(gas_null > 0){
		val = (float)(gas_null)/2200.0f;
	}else if(gas_null > 2200){
		val = 1.0f;
	}else if(0>gas_null){
		val = 0.0f;
	}
	return val;
}

/* USER CODE END 4 */

void Error_Handler(void)
{
  __disable_irq();
  while (1)
  {
  }
}
